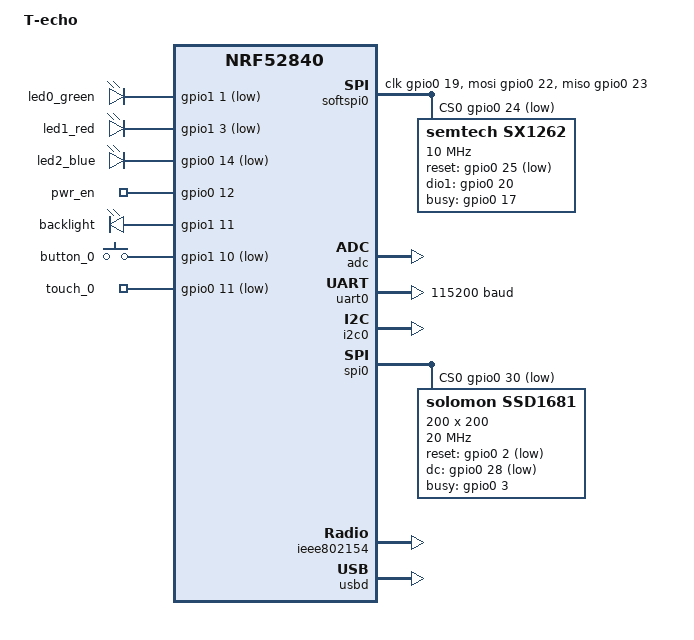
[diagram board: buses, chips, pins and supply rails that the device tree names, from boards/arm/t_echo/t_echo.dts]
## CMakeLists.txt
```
cmake_minimum_required(VERSION 3.20.0)

set(BOARD_ROOT ${CMAKE_CURRENT_LIST_DIR})
set(OPENOCD_NRF5_SUBFAMILY "nrf52")

find_package(Zephyr REQUIRED HINTS $ENV{ZEPHYR_BASE})
include(${ZEPHYR_BASE}/cmake/cfb.cmake NO_POLICY_SCOPE)

project(tracker)
target_sources(app PRIVATE
    src/main.c
    src/display.c
    src/communication.c
    src/sensors.c
)

add_subdirectory(../common ../build/common)
target_link_libraries(app PRIVATE protocol)
target_link_libraries(app PRIVATE minmea)

set(gen_dir ${ZEPHYR_BINARY_DIR}/include/generated/)
# generate_cfb_font_for_target(app "fonts/Big Apple 3PM.ttf" "${gen_dir}/cfb_custom_font.h" 28 32)
# generate_cfb_font_for_target(app "fonts/m12.TTF" "${gen_dir}/cfb_custom_font.h" 34 32 -s 32)
# generate_cfb_font_for_target(app "fonts/Daydream.ttf" "${gen_dir}/cfb_custom_font.h" 23 24 -s 16)
# generate_cfb_font_for_target(app "fonts/Daydream.ttf" "${gen_dir}/cfb_custom_font.h" 28 32 -s 20)

generate_cfb_font_for_target(app "fonts/DotGothic16-Regular.ttf" "${gen_dir}/cfb_custom_font.h" 9 24 -s 16)
```

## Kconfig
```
menu "Zephyr"
source "Kconfig.zephyr"
endmenu

rsource "../common/Kconfig"

config APP_MAIN_LOG_LEVEL
    int "app main log level"
    default 2
    depends on LOG

config APP_DISPLAY_LOG_LEVEL
    int "app display log level"
    default 2
    depends on LOG

config APP_COM_LOG_LEVEL
    int "app communication log level"
    default 2
    depends on LOG

config APP_SENSORS_LOG_LEVEL
    int "app sensors log level"
    default 2
    depends on LOG

config DELAYED_START
    bool "delay the start"
    default n
```

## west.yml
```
manifest:
  remotes:
    - name: zephyrproject-rtos
      url-base: https://github.com/zephyrproject-rtos
  projects:
    - name: zephyr
      remote: zephyrproject-rtos
      revision: v3.4.0
      import: true
    - name: lvgl
      remote: zephyrproject-rtos
      revision: 9fe0a7cc0fb94bcbefc036ee27f1842f13e4e624
      path: modules/lib/gui
      import: true
```

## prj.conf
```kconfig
CONFIG_CBPRINTF_FP_SUPPORT=y

CONFIG_PM=y

CONFIG_GPIO=y

CONFIG_DISPLAY=y
CONFIG_CHARACTER_FRAMEBUFFER=y
CONFIG_CHARACTER_FRAMEBUFFER_USE_DEFAULT_FONTS=n

# CONFIG_LVGL=y
# CONFIG_LV_USE_THEME_DEFAULT=y
# CONFIG_LV_FONT_MONTSERRAT_20=y
# CONFIG_LV_FONT_DEFAULT_MONTSERRAT_20=y
# CONFIG_LV_Z_VDB_SIZE=64
# CONFIG_LV_COLOR_DEPTH_1=y

CONFIG_LOG=y


CONFIG_APP_MAIN_LOG_LEVEL=4
CONFIG_PROTOCOL_LOG_LEVEL=2
CONFIG_APP_SENSORS_LOG_LEVEL=4
CONFIG_APP_DISPLAY_LOG_LEVEL=2
CONFIG_APP_COM_LOG_LEVEL=2

CONFIG_HEAP_MEM_POOL_SIZE=16384

CONFIG_SERIAL=y
CONFIG_CONSOLE=y
CONFIG_UART_CONSOLE=y

CONFIG_USB_DEVICE_STACK=y
CONFIG_USB_DEVICE_PRODUCT="Fjalar Tracker"
CONFIG_USB_DEVICE_PID=0x0004
CONFIG_USB_DEVICE_INITIALIZE_AT_BOOT=y

CONFIG_FPU=y
CONFIG_FPU_SHARING=y

CONFIG_NEWLIB_LIBC=y

CONFIG_USB_CDC_ACM_LOG_LEVEL_WRN=y
# CONFIG_DELAYED_START=y
```

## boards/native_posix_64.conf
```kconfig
CONFIG_SERIAL=y
CONFIG_UART_NATIVE_POSIX=y
CONFIG_UART_NATIVE_POSIX_PORT_1_ENABLE=y
# CONFIG_NATIVE_UART_1_ON_OWN_PTY=y

# CONFIG_NATIVE_UART_0_ON_OWN_PTY=y
CONFIG_NATIVE_UART_0_ON_STDINOUT=y
CONFIG_SYS_CLOCK_TICKS_PER_SEC=1000

CONFIG_DEBUG=y
CONFIG_DEBUG_OPTIMIZATIONS=y
```

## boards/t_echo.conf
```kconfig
CONFIG_SPI=y
CONFIG_SSD16XX=y

CONFIG_BUILD_OUTPUT_UF2=y
CONFIG_ROM_START_OFFSET=0x1000

CONFIG_LORA=y
CONFIG_LORA_SX126X=y
```

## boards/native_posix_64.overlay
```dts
/ {
    aliases {
        led0 = &led_0;
        led1 = &led_1;
        led2 = &led_2;
        sw0 = &sw_0;
        sw1 = &sw_1;
        led-back = &led_0;
        commands-usb = &cdc_acm_uart0;
        telemetry-uart = &uart1;
    };

    leds {
        compatible = "gpio-leds";
        led_0: led_0 {
            gpios = <&gpio0 31 GPIO_ACTIVE_HIGH>;
        };
        led_1: led_1 {
            gpios = <&gpio0 32 GPIO_ACTIVE_HIGH>;
        };
        led_2: led_2 {
            gpios = <&gpio0 33 GPIO_ACTIVE_HIGH>;
        };
    };

    buttons {
        compatible = "gpio-keys";
        sw_0: sw_0 {
            gpios = <&gpio0 0 GPIO_ACTIVE_HIGH>;
        };
        sw_1: sw_1 {
            gpios = <&gpio0 1 GPIO_ACTIVE_HIGH>;
        };
        debounce-interval-ms = < 50 >;
    };

    // uart2: uart2 {
    //     status = "okay";
    //     compatible = "zephyr,native-tty-uart";
    //     serial-port = "/dev/pts/12";
    //     current-speed = <115200>;
    // };

};

&zephyr_udc0 {
    cdc_acm_uart0: cdc_acm_uart0 {
        compatible = "zephyr,cdc-acm-uart";
    };
};


&sdl_dc {
    height = <200>;
    width = <200>;
};

&gpio0 {
    ngpios = <16>;

    sdl_gpio {
      compatible = "zephyr,gpio-emul-sdl";
      scancodes = <54 55>;
    };
};
```

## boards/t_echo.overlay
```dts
/ {
	chosen {
		zephyr,console = &cdc_acm_uart0;
		zephyr,shell-uart = &cdc_acm_uart0;
    };

    aliases {
        commands-usb = &cdc_acm_uart1;
    };
};

&zephyr_udc0 {
    cdc_acm_uart0: cdc_acm_uart0 {
        compatible = "zephyr,cdc-acm-uart";
    };
    cdc_acm_uart1: cdc_acm_uart1 {
        compatible = "zephyr,cdc-acm-uart";
    };
};
```

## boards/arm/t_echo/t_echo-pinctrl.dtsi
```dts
/*
 * Copyright (c) 2022 Nordic Semiconductor
 * SPDX-License-Identifier: Apache-2.0
 */

&pinctrl {
	uart0_default: uart0_default {
		group1 {
			psels = <NRF_PSEL(UART_TX, 1, 8)>,
				<NRF_PSEL(UART_RX, 1, 9)>;
		};
	};

	uart0_sleep: uart0_sleep {
		group1 {
			psels = <NRF_PSEL(UART_TX, 1, 8)>,
				<NRF_PSEL(UART_RX, 1, 9)>;
			low-power-enable;
		};
	};

	i2c0_default: i2c0_default {
		group1 {
			psels = <NRF_PSEL(TWIM_SDA, 0, 26)>,
				<NRF_PSEL(TWIM_SCL, 0, 27)>;
		};
	};

	i2c0_sleep: i2c0_sleep {
		group1 {
			psels = <NRF_PSEL(TWIM_SDA, 0, 26)>,
				<NRF_PSEL(TWIM_SCL, 0, 27)>;
			low-power-enable;
		};
	};

	spi0_default: spi0_default {
		group1 {
			psels = <NRF_PSEL(SPIM_MISO, 1, 06)>,
				<NRF_PSEL(SPIM_MOSI, 0, 29)>,
				<NRF_PSEL(SPIM_SCK, 0, 31)>;
		};
	};

	spi0_sleep: spi0_sleep {
		group1 {
			psels = <NRF_PSEL(SPIM_MISO, 1, 06)>,
				<NRF_PSEL(SPIM_MOSI, 0, 29)>,
				<NRF_PSEL(SPIM_SCK, 0, 31)>;
			low-power-enable;
		};
	};
};
```

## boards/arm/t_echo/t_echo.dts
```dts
/*
 * Copyright (c) 2017 Linaro Limited
 *
 * SPDX-License-Identifier: Apache-2.0
 */

/dts-v1/;
#include <nordic/nrf52840_qiaa.dtsi>
#include "t_echo-pinctrl.dtsi"

/ {
	model = "T-echo";
	compatible = "nordic,pca10056-dk";

	chosen {
		zephyr,sram = &sram0;
		zephyr,flash = &flash0;
		zephyr,code-partition = &slot0_partition;
		zephyr,ieee802154 = &ieee802154;
		zephyr,display = &ssd1681;
	};

	leds {
		compatible = "gpio-leds";
		led0_green: led_0 {
			gpios = <&gpio1 1 GPIO_ACTIVE_LOW>;
		};
		led1_red: led_1 {
			gpios = <&gpio1 3 GPIO_ACTIVE_LOW>;
		};
		led2_blue: led_2 {
			gpios = <&gpio0 14 GPIO_ACTIVE_LOW>;
		};
		pwr_en: pwr_en {
			gpios = <&gpio0 12 GPIO_ACTIVE_HIGH>;
		};
		backlight: backlight {
			gpios = <&gpio1 11 GPIO_ACTIVE_HIGH>;
		};
	};



	buttons {
		compatible = "gpio-keys";
		button_0: button_0 {
			gpios = <&gpio1 10 (GPIO_ACTIVE_LOW)>;
		};

		touch_0: touch_0 {
			gpios = <&gpio0 11 (GPIO_ACTIVE_LOW)>;
		};

        debounce-interval-ms = < 30 >;
	};

	/* These aliases are provided for compatibility with samples */
	aliases {
		sw0 = &button_0;
		sw1 = &touch_0;
		led0 = &led0_green;
		led1 = &led1_red;
		led2 = &led2_blue;
		led0-green = &led0_green;
		led1-red   = &led1_red;
		led1-blue  = &led2_blue;
		led-back = &backlight;
		pwr-en = &pwr_en;
		watchdog0 = &wdt0;
		telemetry-lora = &sx1262;
		gps-uart = &uart0;
	};

	softspi0: softspi0 {
		compatible = "zephyr,spi-bitbang";
		status="okay";
		#address-cells = <1>;
		#size-cells = <0>;
		clk-gpios = <&gpio0 19 GPIO_ACTIVE_HIGH>;
		mosi-gpios = <&gpio0 22 GPIO_ACTIVE_HIGH>;
		miso-gpios = <&gpio0 23 GPIO_ACTIVE_HIGH>;
		cs-gpios = <&gpio0 24 GPIO_ACTIVE_LOW>;

		sx1262: sx1262@0 {
			compatible ="semtech,sx1262";
			reg = <0>;
			spi-max-frequency = <10000000>;
			status = "okay";
			reset-gpios = <&gpio0 25 (GPIO_ACTIVE_LOW)>; //maybe open drain idk
			dio1-gpios = <&gpio0 20 GPIO_ACTIVE_HIGH>;
			dio3-tcxo-voltage = <0x07>; //3v3
			tcxo-power-startup-delay-ms = <1000>; // pulled this from my ass
			busy-gpios = <&gpio0 17 GPIO_ACTIVE_HIGH>;
		};
	};
};

&adc {
	status = "okay";
};

&gpiote {
	status = "okay";
};

&gpio0 {
	status = "okay";
};

&gpio1 {
	status = "okay";
};

&uart0 {
	compatible = "nordic,nrf-uart";
	current-speed = <115200>;
	status = "okay";
	pinctrl-0 = <&uart0_default>;
	pinctrl-1 = <&uart0_sleep>;
	pinctrl-names = "default", "sleep";
};

&i2c0 {
	compatible = "nordic,nrf-twi";
	status = "okay";
	pinctrl-0 = <&i2c0_default>;
	pinctrl-1 = <&i2c0_sleep>;
	pinctrl-names = "default", "sleep";
};

&spi0 {
	status = "okay";
	pinctrl-0 = <&spi0_default>;
	pinctrl-1 = <&spi0_sleep>;
	cs-gpios = <&gpio0 30 GPIO_ACTIVE_LOW>;
	pinctrl-names = "default", "sleep";

	ssd1681: ssd1681@0 {
		reg = <0>;
		compatible = "solomon,ssd1681";
		reset-gpios = <&gpio0 2 GPIO_ACTIVE_LOW>;
		dc-gpios = <&gpio0 28 GPIO_ACTIVE_LOW>;
		busy-gpios = <&gpio0 3 GPIO_ACTIVE_HIGH>;
		spi-max-frequency = <20000000>;
		height = <200>;
		width = <200>;
		orientation-flipped;
	};
};

&ieee802154 {
	status = "okay";
};

&flash0 {
	partitions {
		compatible = "fixed-partitions";
		#address-cells = <1>;
		#size-cells = <1>;

		boot_partition: partition@0 {
			label = "mcuboot";
			reg = <0x00000000 0x0000C000>;
		};
		slot0_partition: partition@c000 {
			label = "image-0";
			reg = <0x0000C000 0x00067000>;
		};
		slot1_partition: partition@73000 {
			label = "image-1";
			reg = <0x00073000 0x00067000>;
		};
		scratch_partition: partition@da000 {
			label = "image-scratch";
			reg = <0x000da000 0x0001e000>;
		};

		/*
		 * The flash starting at 0x000f8000 and ending at
		 * 0x000fffff is reserved for use by the application.
		 */

		/*
		 * Storage partition will be used by FCB/LittleFS/NVS
		 * if enabled.
		 */
		storage_partition: partition@f8000 {
			label = "storage";
			reg = <0x000f8000 0x00008000>;
		};
	};
};

zephyr_udc0: &usbd {
	compatible = "nordic,nrf-usbd";
	status = "okay";
};
```

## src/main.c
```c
#include <zephyr/kernel.h>
#include <zephyr/drivers/gpio.h>
#include <zephyr/drivers/display.h>
#include <zephyr/pm/pm.h>
#include <zephyr/init.h>
#include <zephyr/logging/log.h>
#include <zephyr/display/cfb.h>

#include <cfb_custom_font.h>

#include "tracker.h"
#include "display.h"
#include "sensors.h"
#include "communication.h"

LOG_MODULE_REGISTER(main, CONFIG_APP_MAIN_LOG_LEVEL);

tracker_t tracker_god = {0};

struct gpio_callback button_callback_data;

void button_callback(const struct device *dev, struct gpio_callback *cb, uint32_t pins) {
    const struct gpio_dt_spec button_sw = GPIO_DT_SPEC_GET(DT_ALIAS(sw0), gpios);
    static uint32_t pressed_at = 0;

    bool state = gpio_pin_get_dt(&button_sw);
    // LOG_DBG("button pressed at %d %d", k_uptime_get_32(), state);

    // driver doesn't debounce
    if (k_uptime_get_32() - pressed_at < 50) {
        return;
    }

    if (state == true) {
        pressed_at = k_uptime_get_32();
    }

    if (state == false) {
        uint32_t delta = k_uptime_get_32() - pressed_at;
        if (delta > 1000) {
            send_screen_command(&tracker_god);
        } else  {
            next_frame(&tracker_god);
        }
    }
}

int main(void)
{
    #ifdef CONFIG_DELAYED_START
	const int delay = 10;
	for (int i = 0; i < delay; i++) {
		printk("%d\n", delay - i);
		k_msleep(1000);
	}
	#endif
    init_display(&tracker_god);
    init_communication(&tracker_god);
    init_sensors(&tracker_god);

    int ret;
    const struct gpio_dt_spec gpio_led = GPIO_DT_SPEC_GET(DT_ALIAS(led0), gpios);
    const struct gpio_dt_spec back_led = GPIO_DT_SPEC_GET(DT_ALIAS(led_back), gpios);
    const struct gpio_dt_spec button_sw = GPIO_DT_SPEC_GET(DT_ALIAS(sw0), gpios);

    ret = gpio_pin_configure_dt(&gpio_led, GPIO_OUTPUT_ACTIVE);

    ret = gpio_pin_configure_dt(&back_led, GPIO_OUTPUT_ACTIVE);
    ret = gpio_pin_set_dt(&back_led, 1);

    ret = gpio_pin_configure_dt(&button_sw, GPIO_INPUT);
    ret = gpio_pin_interrupt_configure_dt(&button_sw, GPIO_INT_EDGE_BOTH);
    gpio_init_callback(&button_callback_data, button_callback, BIT(button_sw.pin));
    ret = gpio_add_callback_dt(&button_sw, &button_callback_data);

    while (1) {
        ret = gpio_pin_toggle_dt(&gpio_led);
        if (ret < 0) {
            return 0;
        }

        k_msleep(100);
    }
    return 0;
}

#ifdef CONFIG_BOARD_T_ECHO
#include <hal/nrf_gpio.h>

void power_thread(void *p1, void *p2, void *p3);

K_THREAD_DEFINE(power_thread_id, 512, power_thread, NULL, NULL, NULL, 10, 0, 0);

void power_off(const struct gpio_dt_spec *gpio_pwr_en) {
    gpio_pin_set_dt(gpio_pwr_en, 0);
    pm_state_force(0u, &(struct pm_state_info){PM_STATE_SOFT_OFF, 0, 0});
    k_msleep(1000);
    // the line above kind of powers off the board.
    // If it somehow doesn't then enable external power again to notify the user
    gpio_pin_set_dt(gpio_pwr_en, 1);
}

void power_thread(void *p1, void *p2, void *p3) {
    const struct gpio_dt_spec gpio_button = GPIO_DT_SPEC_GET(DT_ALIAS(sw0), gpios);
    const struct gpio_dt_spec gpio_pwr_en = GPIO_DT_SPEC_GET(DT_ALIAS(pwr_en), gpios);
    const struct gpio_dt_spec gpio_led = GPIO_DT_SPEC_GET(DT_ALIAS(led2), gpios);

    gpio_pin_configure_dt(&gpio_button, GPIO_INPUT);
    gpio_pin_configure_dt(&gpio_pwr_en, GPIO_OUTPUT);
    gpio_pin_configure_dt(&gpio_led, GPIO_OUTPUT);

    int pressed_for = 0;
    while (true) {
        if (gpio_pin_get_dt(&gpio_button)) {
            pressed_for++;
            if (pressed_for > 100) {
                power_off(&gpio_pwr_en);
            }
        } else {
            pressed_for = 0;
        }
        k_msleep(100);
    }
}

int early_power_on() {
    uint32_t psel = NRF_DT_GPIOS_TO_PSEL(DT_ALIAS(pwr_en), gpios);
    gpio_dt_flags_t flags = DT_GPIO_FLAGS(DT_ALIAS(pwr_en), gpios);

    if (flags & GPIO_ACTIVE_LOW) {
        nrf_gpio_pin_clear(psel);
    } else {
        nrf_gpio_pin_set(psel);
    }
    nrf_gpio_cfg_output(psel);

    psel = NRF_DT_GPIOS_TO_PSEL(DT_ALIAS(led2), gpios);
    flags = DT_GPIO_FLAGS(DT_ALIAS(led2), gpios);

    if (flags & GPIO_ACTIVE_LOW) {
        nrf_gpio_pin_clear(psel);
    } else {
        nrf_gpio_pin_set(psel);
    }
    nrf_gpio_cfg_output(psel);

    return 0;
}
SYS_INIT(early_power_on, PRE_KERNEL_1, 0);
#endif
```

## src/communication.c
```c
#include <zephyr/kernel.h>
#include <zephyr/drivers/lora.h>
#include <zephyr/drivers/uart.h>
#include <zephyr/logging/log.h>
#include <protocol.h>

#include "communication.h"
#include "tracker.h"

LOG_MODULE_REGISTER(com, CONFIG_APP_COM_LOG_LEVEL);

#define LORA_TRANSMIT 1
#define LORA_RECEIVE 0

#define LORA_THREAD_PRIORITY 5 //bit banging causes button to lock...
#define LORA_THREAD_STACK_SIZE 4096

#define USB_THREAD_PRIORITY 7
#define USB_THREAD_STACK_SIZE 4096

#define UART_THREAD_PRIORITY 7
#define UART_THREAD_STACK_SIZE 4096

#if DT_ALIAS_EXISTS(telemetry_lora)
K_THREAD_STACK_DEFINE(lora_thread_stack, LORA_THREAD_STACK_SIZE);
struct k_thread lora_thread_data;
k_tid_t lora_thread_id;
void lora_thread(tracker_t *tracker, void *p2, void *p3);
#endif

#if DT_ALIAS_EXISTS(telemetry_uart)
K_THREAD_STACK_DEFINE(uart_thread_stack, UART_THREAD_STACK_SIZE);
struct k_thread uart_thread_data;
k_tid_t uart_thread_id;
void uart_thread(tracker_t *tracker, void *p2, void *p3);
#endif

#if DT_ALIAS_EXISTS(commands_usb)
K_THREAD_STACK_DEFINE(usb_thread_stack, USB_THREAD_STACK_SIZE);
struct k_thread usb_thread_data;
k_tid_t usb_thread_id;
void usb_thread(tracker_t *tracker, void *p2, void *p3);
#endif

K_MSGQ_DEFINE(lora_msgq, sizeof(struct padded_buf), 10, 4);
K_MSGQ_DEFINE(usb_msgq, sizeof(struct padded_buf), 10, 4);
K_MSGQ_DEFINE(uart_msgq, sizeof(struct padded_buf), 10, 4);

void init_communication(tracker_t *tracker) {
    #if DT_ALIAS_EXISTS(telemetry_lora)
	lora_thread_id = k_thread_create(
		&lora_thread_data,
		lora_thread_stack,
		K_THREAD_STACK_SIZEOF(lora_thread_stack),
		(k_thread_entry_t) lora_thread,
		tracker, NULL, NULL,
		LORA_THREAD_PRIORITY, 0, K_NO_WAIT
	);
	k_thread_name_set(lora_thread_id, "lora");
    #endif

    #if DT_ALIAS_EXISTS(telemetry_uart)
	uart_thread_id = k_thread_create(
		&uart_thread_data,
		uart_thread_stack,
		K_THREAD_STACK_SIZEOF(uart_thread_stack),
		(k_thread_entry_t) uart_thread,
		tracker, NULL, NULL,
		UART_THREAD_PRIORITY, 0, K_NO_WAIT
	);
	k_thread_name_set(uart_thread_id, "uart");
    #endif

	#if DT_ALIAS_EXISTS(commands_usb)
	usb_thread_id = k_thread_create(
		&usb_thread_data,
		usb_thread_stack,
		K_THREAD_STACK_SIZEOF(usb_thread_stack),
		(k_thread_entry_t) usb_thread,
		tracker, NULL, NULL,
		USB_THREAD_PRIORITY, 0, K_NO_WAIT
	);
	k_thread_name_set(usb_thread_id, "uart");
    #endif
}

void send_screen_command(tracker_t *tracker) {
	struct fjalar_message msg;
	switch (tracker->current_frame) {
		case FRAME_INFO:
			break;
        case FRAME_TRACKING:
            break;
        case FRAME_TELEMETRY:
            break;

		case FRAME_PYRO1:
			msg.has_data = true;
			msg.data.which_data = FJALAR_DATA_TRIGGER_PYRO_TAG;
			msg.data.data.trigger_pyro.pyro = 1;
			send_message(tracker, &msg);
            break;

		case FRAME_PYRO2:
			msg.has_data = true;
			msg.data.which_data = FJALAR_DATA_TRIGGER_PYRO_TAG;
			msg.data.data.trigger_pyro.pyro = 2;
			send_message(tracker, &msg);
            break;

        case FRAME_PYRO3:
			msg.has_data = true;
			msg.data.which_data = FJALAR_DATA_TRIGGER_PYRO_TAG;
			msg.data.data.trigger_pyro.pyro = 3;
			send_message(tracker, &msg);
			break;

        case FRAME_GET_READY:
			msg.has_data = true;
			msg.data.which_data = FJALAR_DATA_READY_UP_TAG;
			send_message(tracker, &msg);
            break;

        case FRAME_ENTER_IDLE:
			msg.has_data = true;
			msg.data.which_data = FJALAR_DATA_ENTER_IDLE_TAG;
			send_message(tracker, &msg);
            break;

        case FRAME_ENTER_SUDO:
			msg.has_data = true;
			msg.data.which_data = FJALAR_DATA_SET_SUDO_TAG;
			msg.data.data.set_sudo.enabled = !tracker->telemetry.sudo;
			send_message(tracker, &msg);
            break;

		case FRAME_CLEAR_FLASH:
			msg.has_data = true;
			msg.data.which_data = FJALAR_DATA_CLEAR_FLASH_TAG;
			send_message(tracker, &msg);
			break;

        case FRAME_MAX:
            break;
	}
}

void send_message(tracker_t *tracker, fjalar_message_t *msg) {
	struct padded_buf pbuf;
	int size = encode_fjalar_message(msg, pbuf.buf);
	if (size < 0) {
		LOG_ERR("encode_fjalar_message failed");
		return;
	}
	LOG_DBG("sending message w/ size %d", size);
	write_to_fc(tracker, pbuf.buf, size);
}

void handle_fjalar_message(tracker_t *tracker, struct fjalar_message *msg) {
	LOG_DBG("handling message with ID %d", msg->data.which_data);
    switch (msg->data.which_data) {
        case FJALAR_DATA_TELEMETRY_PACKET_TAG:
            tracker->telemetry = msg->data.data.telemetry_packet;
            break;
        default:
			LOG_DBG("Could not handle message with ID %d", msg->data.which_data);
    }
}



void write_to_gs(tracker_t *tracker, uint8_t *buf, int len) {
	struct padded_buf pbuf;
	int ret;
	memcpy(pbuf.buf, buf, len);
	ret = k_msgq_put(&usb_msgq, &pbuf, K_NO_WAIT);
	if (ret != 0) {
		LOG_ERR("Could not write to usb_msgq (%d)", ret);
	}
}

void write_to_fc(tracker_t *tracker, uint8_t *buf, int len) {
	struct padded_buf pbuf;
	int ret;
	memcpy(pbuf.buf, buf, len);

	#if DT_ALIAS_EXISTS(telemetry_uart)
	ret = k_msgq_put(&uart_msgq, &pbuf, K_NO_WAIT);
	if (ret != 0) {
		LOG_ERR("Could not write to uart_msgq (%d)", ret);
	}
	#endif

	#if DT_ALIAS_EXISTS(telemetry_lora)
	ret = k_msgq_put(&lora_msgq, &pbuf, K_NO_WAIT);
	if (ret != 0) {
		LOG_ERR("Could not write to lora_msgq (%d)", ret);
	}
	#endif
}

#if DT_ALIAS_EXISTS(telemetry_lora)
int lora_configure(const struct device *dev, uint8_t transmit) {
    // struct lora_modem_config config;
	static uint8_t current_mode = -1;
	if (current_mode == transmit) {
		LOG_DBG("Mode already configured");
		return 0;
	}
    struct lora_modem_config config = PROTOCOL_ZEPHYR_LORA_CONFIG;
    config.tx = transmit;
	config.tx_power = 10;
    int ret = lora_config(dev, &config);
	if (ret < 0) {
		LOG_ERR("Could not configure lora %d", ret);
		return ret;
	}
	if (transmit) {
		LOG_DBG("LoRa configured to tx");
	} else {
		LOG_DBG("LoRa configured to rx");
	}
	current_mode = transmit ? 1 : 0;
	return ret;
}

struct lora_rx {
	uint8_t buf[PROTOCOL_BUFFER_LENGTH];
	uint16_t size;
	int16_t rssi;
	int8_t snr;
} __attribute__((aligned(4)));

K_MSGQ_DEFINE(lora_rx_msgq, sizeof(struct lora_rx), 5, 4);

void lora_cb(const struct device *dev, uint8_t *buf, uint16_t size, int16_t rssi, int8_t snr) {
    struct lora_rx rx;
	rx.size = MIN(size, PROTOCOL_BUFFER_LENGTH);
	memcpy(rx.buf, buf, rx.size);
	rx.rssi = rssi;
	rx.snr = snr;
	k_msgq_put(&lora_rx_msgq, &rx, K_NO_WAIT);
}

void lora_thread(tracker_t *tracker, void* p2, void* p3) {
    const struct device *lora_dev = DEVICE_DT_GET(DT_ALIAS(telemetry_lora));
    if (!device_is_ready(lora_dev)) {
        LOG_ERR("LoRa is not ready");
        return;
    }
    struct lora_rx rx;
    int ret;
    struct padded_buf pbuf;
    fjalar_message_t msg;
    while (true) {
		struct k_poll_event events[2] = {
			K_POLL_EVENT_INITIALIZER(K_POLL_TYPE_MSGQ_DATA_AVAILABLE,
											K_POLL_MODE_NOTIFY_ONLY,
											&lora_msgq),
			K_POLL_EVENT_INITIALIZER(K_POLL_TYPE_MSGQ_DATA_AVAILABLE,
											K_POLL_MODE_NOTIFY_ONLY,
											&lora_rx_msgq),
		};

        ret = lora_configure(lora_dev, LORA_RECEIVE);
		if (ret) {
			LOG_ERR("LoRa rx configure failed");
		} else {
			LOG_DBG("LoRa rxing");
		}

		lora_recv_async(lora_dev, lora_cb);
		// k_poll(&events[1], 1, K_MSEC(10000)); //poll only rx first to not interrupt messages
		k_poll(events, 2, K_FOREVER);

		ret = k_msgq_get(&lora_rx_msgq, &rx, K_NO_WAIT);
        if (ret == 0) {
			events[1].state = K_POLL_STATE_NOT_READY;
			LOG_INF("received LoRa packet. Size: %d rssi: %d snr: %d", rx.size, rx.rssi, rx.snr);
			tracker->local_rssi = rx.rssi;
			struct protocol_state ps;
			reset_protocol_state(&ps);
            for (int i = 0; i < rx.size; i++) {
                int got_msg = parse_fjalar_message(&ps, rx.buf[i], &msg);
                if (got_msg == 1) {
                    LOG_INF("parsed message from lora");
                    handle_fjalar_message(tracker, &msg);
                    write_to_gs(tracker, rx.buf, rx.size);
                } else
                if (got_msg == -1) {
                    LOG_ERR("Invalid message from lora");
                }
            }
        }

        ret = k_msgq_get(&lora_msgq, &pbuf, K_NO_WAIT);
        if (ret == 0) {
			events[0].state = K_POLL_STATE_NOT_READY;
			lora_recv_async(lora_dev, NULL); // cancel reception
            ret = lora_configure(lora_dev, LORA_TRANSMIT);
			if (ret) {
				LOG_ERR("LORA tx configure failed");
			}else {
				LOG_DBG("LoRa txing");
			}
            int size = get_encoded_message_length(pbuf.buf);
            ret = lora_send(lora_dev, pbuf.buf, size);
			if (ret) {
				LOG_ERR("Could not send LoRa message");
			}
        }
    }
}
#endif

#if DT_ALIAS_EXISTS(telemetry_uart)
void uart_thread(tracker_t *tracker, void* p2, void* p3) {
	const struct device *uart_dev = DEVICE_DT_GET(DT_ALIAS(telemetry_uart));
    if (!device_is_ready(uart_dev)) {
		LOG_ERR("telemetry uart not ready");
		return;
	}
	struct protocol_state ps;
	reset_protocol_state(&ps);
    uint8_t rx_buf[PROTOCOL_BUFFER_LENGTH]; //TODO: please mangage lengths properly
    uint8_t rx_index = 0;
	while(1) {
		// rx
		int ret;
		uint8_t byte;
		ret = uart_poll_in(uart_dev, &byte);
		if (ret == 0) {
            // LOG_DBG("received byte on telemetry_uart");
            if (rx_index < sizeof(rx_buf)) {
                rx_buf[rx_index] = byte;
                rx_index++;
            }
            fjalar_message_t msg;
            int got_msg = parse_fjalar_message(&ps, byte, &msg);
            if (got_msg == 1) {
                LOG_INF("received message from telemetry_uart");
                handle_fjalar_message(tracker, &msg);
                write_to_gs(tracker, rx_buf, rx_index);
                rx_index = 0;
            } else
            if (got_msg == -1) {
                rx_index = 0;
            }
			continue;
		} else
		if (ret != -1) {
			LOG_ERR("UART read error");
		}

		// tx
		struct padded_buf pbuf;
		ret = k_msgq_get(&uart_msgq, &pbuf, K_NO_WAIT);
		if (ret == 0) {
			int size = get_encoded_message_length(pbuf.buf);
			for (int i = 0; i < size; i++) {
				uart_poll_out(uart_dev, pbuf.buf[i]);
			}
		}
		k_msleep(1);
	}
}
#endif

#if DT_ALIAS_EXISTS(commands_usb)
void usb_thread(tracker_t *tracker, void* p2, void* p3) {
	const struct device *usb_dev = DEVICE_DT_GET(DT_ALIAS(commands_usb));
    if (!device_is_ready(usb_dev)) {
		LOG_ERR("telemetry uart not ready");
		return;
	}
	struct protocol_state ps;
	reset_protocol_state(&ps);
    uint8_t rx_buf[PROTOCOL_BUFFER_LENGTH]; //TODO: please mangage lengths properly
    uint8_t rx_index = 0;
	while(1) {
		// rx
		int ret;
		uint8_t byte;
		ret = uart_poll_in(usb_dev, &byte);
		if (ret == 0) {
            // LOG_DBG("received byte on telemetry_uart");
            if (rx_index < sizeof(rx_buf)) {
                rx_buf[rx_index] = byte;
                rx_index++;
            }
            fjalar_message_t msg;
            int got_msg = parse_fjalar_message(&ps, byte, &msg);
            if (got_msg == 1) {
                LOG_INF("received message from commands_usb");
                // handle_fjalar_message(tracker, &msg);
                write_to_fc(tracker, rx_buf, rx_index);
                rx_index = 0;
            } else
            if (got_msg == -1) {
                rx_index = 0;
            }
			continue;
		} else
		if (ret != -1) {
			LOG_ERR("USB read error");
		}

		// tx
		struct padded_buf pbuf;
		ret = k_msgq_get(&usb_msgq, &pbuf, K_NO_WAIT);
		if (ret == 0) {
			int size = get_encoded_message_length(pbuf.buf);
			for (int i = 0; i < size; i++) {
				uart_poll_out(usb_dev, pbuf.buf[i]);
			}
		}
		k_msleep(1);
	}
}
#endif
```

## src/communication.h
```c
#include <protocol.h>

#include "tracker.h"

struct padded_buf {
	uint8_t buf[PROTOCOL_BUFFER_LENGTH];
} __attribute__((aligned(4)));



void send_message(tracker_t *tracker, fjalar_message_t *msg);
void write_to_gs(tracker_t *tracker, uint8_t *buf, int len);
void write_to_fc(tracker_t *tracker, uint8_t *buf, int len);
void send_screen_command(tracker_t *tracker);

void init_communication(tracker_t *tracker);
```

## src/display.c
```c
#include <zephyr/kernel.h>
#include <zephyr/drivers/display.h>
#include <zephyr/display/cfb.h>
#include <zephyr/logging/log.h>
#include <zephyr/drivers/gpio.h>

#include "tracker.h"
#include "display.h"
#include "sensors.h"

LOG_MODULE_REGISTER(app_display, CONFIG_APP_DISPLAY_LOG_LEVEL);

#define DRAWING_THREAD_PRIORITY 6
#define DRAWING_THREAD_STACK_SIZE 1024

K_THREAD_STACK_DEFINE(drawing_thread_stack, DRAWING_THREAD_STACK_SIZE);
struct k_thread drawing_thread_data;
k_tid_t drawing_thread_id;
void drawing_thread(tracker_t *tracker, void *p2, void *p3);

uint8_t font_width;
uint8_t font_height;

const struct device *display_dev = DEVICE_DT_GET(DT_CHOSEN(zephyr_display));

void init_display(tracker_t *tracker) {
    drawing_thread_id = k_thread_create(
		&drawing_thread_data,
		drawing_thread_stack,
		K_THREAD_STACK_SIZEOF(drawing_thread_stack),
		(k_thread_entry_t) drawing_thread,
		tracker, NULL, NULL,
		DRAWING_THREAD_PRIORITY, 0, K_NO_WAIT
	);
}

void next_frame(tracker_t *tracker) {
    tracker->current_frame = (tracker->current_frame + 1) % FRAME_MAX;
}

void drawing_thread(tracker_t *tracker, void *p2, void *p3) {

    // init screen
    if (!device_is_ready(display_dev)) {
        LOG_ERR("Display not ready");
    }
    if (display_set_pixel_format(display_dev, PIXEL_FORMAT_MONO10) != 0) {
        LOG_ERR("Failed to set required pixel format\n");
    }
    if (cfb_framebuffer_init(display_dev)) {
        LOG_ERR("Framebuffer initialization failed!\n");
    }
    cfb_framebuffer_clear(display_dev, true);
    display_blanking_off(display_dev);
    for (int idx = 0; idx < 42; idx++) {
        if (cfb_get_font_size(display_dev, idx, &font_width, &font_height)) {
			break;
		}
		cfb_framebuffer_set_font(display_dev, idx);
	}

    //init gpio
    const struct gpio_dt_spec touch_sw = GPIO_DT_SPEC_GET(DT_ALIAS(sw1), gpios);
    gpio_pin_configure_dt(&touch_sw, GPIO_INPUT);

    enum screen_frames last_frame = tracker->current_frame;
    draw_frame(tracker, last_frame);
    int ret;
    while (true) {
        ret = gpio_pin_get_dt(&touch_sw);
        if (last_frame != tracker->current_frame || ret) {
            enum screen_frames frame = tracker->current_frame;
            draw_frame(tracker, frame);
            last_frame = frame;
            tracker->current_frame = last_frame;
        }
        k_msleep(100);
    }
}

const static char* state_to_string(enum flight_state state) {
    switch(state) {
        case FLIGHT_STATE_IDLE:
            return "Idle";
        case FLIGHT_STATE_LAUNCHPAD:
            return "Launchpad";
        case FLIGHT_STATE_BOOST:
            return "Boost";
        case FLIGHT_STATE_COAST:
            return "Coast";
        case FLIGHT_STATE_FREE_FALL:
            return "Free Fall";
        case FLIGHT_STATE_DROGUE_DESCENT:
            return "Drogue";
        case FLIGHT_STATE_MAIN_DESCENT:
            return "Main";
        case FLIGHT_STATE_LANDED:
            return "Landed";
        default:
            return "error";
            LOG_ERR("Invalid flight state");
    }
}

void draw_frame(tracker_t *tracker, enum screen_frames frame) {
    LOG_DBG("Draw frame");
    cfb_framebuffer_clear(display_dev, false);

    uint8_t buf[128];
    int len;
    int i = 0;
    int x_offset = 10;
    switch (frame) {
        case FRAME_INFO:
            i = 3;
            len = snprintk(buf, sizeof(buf), "info");
            cfb_draw_text(display_dev, buf, x_offset, i++ * font_height);
            break;
        case FRAME_TRACKING:
            len = snprintk(buf, sizeof(buf), "tracking");
            cfb_draw_text(display_dev, buf, x_offset, i++ * font_height);
            len = snprintk(buf, sizeof(buf), "rocket");
            cfb_draw_text(display_dev, buf, x_offset, i++ * font_height);
            len = snprintk(buf, sizeof(buf), "lat: %f°", tracker->telemetry.latitude);
            cfb_draw_text(display_dev, buf, x_offset, i++ * font_height);
            len = snprintk(buf, sizeof(buf), "lon: %f°", tracker->telemetry.longitude);
            cfb_draw_text(display_dev, buf, x_offset, i++ * font_height);
            len = snprintk(buf, sizeof(buf), "tracker");
            cfb_draw_text(display_dev, buf, x_offset, i++ * font_height);
            len = snprintk(buf, sizeof(buf), "lat: %f°", tracker->latitude);
            cfb_draw_text(display_dev, buf, x_offset, i++ * font_height);
            len = snprintk(buf, sizeof(buf), "lon: %f°", tracker->longitude);
            cfb_draw_text(display_dev, buf, x_offset, i++ * font_height);

            float distance = haversine_distance(tracker->telemetry.latitude, tracker->telemetry.longitude, tracker->latitude, tracker->longitude);
            len = snprintk(buf, sizeof(buf), "distance: %fm", distance);
            cfb_draw_text(display_dev, buf, x_offset, i++ * font_height);
            break;
        case FRAME_TELEMETRY:
            len = snprintk(buf, sizeof(buf), "alt: %fm", tracker->telemetry.altitude);
            cfb_draw_text(display_dev, buf, x_offset, i++ * font_height);
            len = snprintk(buf, sizeof(buf), "vel: %fm/s", tracker->telemetry.velocity);
            cfb_draw_text(display_dev, buf, x_offset, i++ * font_height);
            len = snprintk(buf, sizeof(buf), "az: %fm/s2", tracker->telemetry.az);
            cfb_draw_text(display_dev, buf, x_offset, i++ * font_height);
            len = snprintk(buf, sizeof(buf), "p1:%d p2:%d p3:%d", tracker->telemetry.pyro1_connected, tracker->telemetry.pyro2_connected, tracker->telemetry.pyro3_connected);
            cfb_draw_text(display_dev, buf, x_offset, i++ * font_height);
            len = snprintk(buf, sizeof(buf), "rssi: %ddBm", tracker->local_rssi);
            cfb_draw_text(display_dev, buf, x_offset, i++ * font_height);
            len = snprintk(buf, sizeof(buf), "state: %s", state_to_string(tracker->telemetry.flight_state));
            cfb_draw_text(display_dev, buf, x_offset, i++ * font_height);
            len = snprintk(buf, sizeof(buf), "flash: %f%%", tracker->telemetry.flash_address / (float) 0x8000000 * 100 * 8);
            cfb_draw_text(display_dev, buf, x_offset, i++ * font_height);
            len = snprintk(buf, sizeof(buf), "volt: %fV", tracker->telemetry.battery);
            cfb_draw_text(display_dev, buf, x_offset, i++ * font_height);
            break;
        case FRAME_PYRO1:
            i = 3;
            len = snprintk(buf, sizeof(buf), "PYRO 1");
            cfb_draw_text(display_dev, buf, x_offset, i++ * font_height);
            len = snprintk(buf, sizeof(buf), "connected: %d", tracker->telemetry.pyro1_connected);
            cfb_draw_text(display_dev, buf, x_offset, i++ * font_height);
            break;
        case FRAME_PYRO2:
            i = 3;
            len = snprintk(buf, sizeof(buf), "PYRO 2");
            cfb_draw_text(display_dev, buf, x_offset, i++ * font_height);
            len = snprintk(buf, sizeof(buf), "connected: %d", tracker->telemetry.pyro2_connected);
            cfb_draw_text(display_dev, buf, x_offset, i++ * font_height);
            break;
        case FRAME_PYRO3:
            i = 3;
            len = snprintk(buf, sizeof(buf), "PYRO 3");
            cfb_draw_text(display_dev, buf, x_offset, i++ * font_height);
            len = snprintk(buf, sizeof(buf), "connected: %d", tracker->telemetry.pyro3_connected);
            cfb_draw_text(display_dev, buf, x_offset, i++ * font_height);
            break;
        case FRAME_GET_READY:
            i = 3;
            len = snprintk(buf, sizeof(buf), "BECOME READY?");
            cfb_draw_text(display_dev, buf, x_offset, i++ * font_height);
            len = snprintk(buf, sizeof(buf), "state: %s", state_to_string(tracker->telemetry.flight_state));
            cfb_draw_text(display_dev, buf, x_offset, i++ * font_height);
            break;
        case FRAME_ENTER_IDLE:
            i = 3;
            len = snprintk(buf, sizeof(buf), "BECOME IDLE?");
            cfb_draw_text(display_dev, buf, x_offset, i++ * font_height);
            len = snprintk(buf, sizeof(buf), "state: %s", state_to_string(tracker->telemetry.flight_state));
            cfb_draw_text(display_dev, buf, x_offset, i++ * font_height);
            break;
        case FRAME_ENTER_SUDO:
            i = 3;
            len = snprintk(buf, sizeof(buf), "SUDO MODE?");
            cfb_draw_text(display_dev, buf, x_offset, i++ * font_height);
            len = snprintk(buf, sizeof(buf), "Sudo: %d", tracker->telemetry.sudo);
            cfb_draw_text(display_dev, buf, x_offset, i++ * font_height);
            break;
        case FRAME_CLEAR_FLASH:
            i = 3;
            len = snprintk(buf, sizeof(buf), "CLEAR FLASH?");
            cfb_draw_text(display_dev, buf, x_offset, i++ * font_height);
            len = snprintk(buf, sizeof(buf), "flash address: %d", tracker->telemetry.flash_address);
            cfb_draw_text(display_dev, buf, x_offset, i++ * font_height);
            break;
        case FRAME_MAX:
            break;
    }
    cfb_framebuffer_finalize(display_dev);
}
```

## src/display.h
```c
#pragma once

#include "tracker.h"

void init_display(tracker_t *tracker);
void draw_frame(tracker_t *tracker, enum screen_frames frame);
void next_frame(tracker_t *tracker);
```

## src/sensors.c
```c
#include <zephyr/kernel.h>
#include <zephyr/drivers/uart.h>
#include <zephyr/logging/log.h>
#include <math.h>

#include <minmea.h>

#include "tracker.h"

LOG_MODULE_REGISTER(gps, CONFIG_APP_SENSORS_LOG_LEVEL);

#define GPS_THREAD_STACK_SIZE 2048

#define GPS_THREAD_PRIORITY 7

#if DT_ALIAS_EXISTS(gps_uart)
K_THREAD_STACK_DEFINE(gps_thread_stack, GPS_THREAD_STACK_SIZE);
struct k_thread gps_thread_data;
k_tid_t gps_thread_id;
#endif

void gps_thread(tracker_t *tracker, void *p2, void *p3);

void init_sensors(tracker_t *tracker) {
	#if DT_ALIAS_EXISTS(gps_uart)
	gps_thread_id = k_thread_create(
		&gps_thread_data,
		gps_thread_stack,
		K_THREAD_STACK_SIZEOF(gps_thread_stack),
		(k_thread_entry_t) gps_thread,
		tracker, NULL, NULL,
		GPS_THREAD_PRIORITY, 0, K_NO_WAIT
	);
	k_thread_name_set(gps_thread_id, "gps");
	#endif
}

#if DT_NODE_EXISTS(DT_ALIAS(gps_uart))
void handle_nmea(tracker_t *tracker, char *buf, int len) {
	LOG_DBG("Handling nmea message");
	switch (minmea_sentence_id(buf, true)) {
		case MINMEA_INVALID:
			LOG_ERR("got invalid nmea message \"%.*s\"", len, buf);
			break;
		case MINMEA_UNKNOWN:
			LOG_DBG("got unknown nmea message (quectel probably) \"%.*s\"", len, buf);
			break;

		case MINMEA_SENTENCE_RMC:
			LOG_DBG("got RMC nmea message");
			struct minmea_sentence_rmc rmc;
			minmea_parse_rmc(&rmc, buf);
			tracker->longitude = minmea_tocoord(&rmc.longitude);
			tracker->latitude = minmea_tocoord(&rmc.latitude);
			break;

		default:
			LOG_DBG("got unhandled nmea message \"%.*s\"", len, buf);
			break;
	}
}

void gps_uart_cb(const struct device *dev, void *user_data) {
	static uint8_t nmea_buf[255];
	static int nmea_index = 0;

	if (!uart_irq_update(dev)) {
		return;
	}

	if (!uart_irq_rx_ready(dev)) {
		return;
	}

	while (true) {
		uint8_t fifo_buf[255];
		int fifo_len = uart_fifo_read(dev, fifo_buf, sizeof(fifo_buf));
		if (fifo_len <= 0) {
			break;
		}

		for (int i = 0; i < fifo_len; i++) {
			char byte = fifo_buf[i];
			if (byte == '$') {
				nmea_index = 0;
			}
			if (byte == '\n' || byte == '\r') {
				if (nmea_index != 0) {
					nmea_buf[nmea_index] = '\0';
					handle_nmea(&tracker_god, nmea_buf, nmea_index); // TODO: don't use tracker god
				}
				nmea_index = 0;
				continue;
			}
			if (nmea_index < sizeof(nmea_buf) - 1) {
				nmea_buf[nmea_index] = byte;
				nmea_index++;
				continue;
			}
			continue;
		}
	}
}

void gps_thread(tracker_t *tracker, void *p2, void *p3) {
    const struct device *const gps_dev = DEVICE_DT_GET(DT_ALIAS(gps_uart));
    if (!device_is_ready(gps_dev)) {
		LOG_ERR("gps is not ready");
		return;
	}
    int ret;
    struct uart_config uart_config = {
		.baudrate = 9600,
		.data_bits = UART_CFG_DATA_BITS_8,
		.flow_ctrl = UART_CFG_FLOW_CTRL_NONE,
		.parity = UART_CFG_PARITY_NONE,
		.stop_bits = UART_CFG_STOP_BITS_1
	};
	ret = uart_configure(gps_dev, &uart_config);
	uart_irq_callback_set(gps_dev, gps_uart_cb);
	uart_irq_rx_enable(gps_dev);

	const char pulse_msg[] = "$PMTK285,2,100*3E\r\n"; // blink
	for (int i = 0; i < strlen(pulse_msg); i++) {
		uart_poll_out(gps_dev, pulse_msg[i]);
	}

	const char mode_msg[] = "$PMTK886,3*2B\r\n"; // balloon mode
	for (int i = 0; i < strlen(mode_msg); i++) {
		uart_poll_out(gps_dev, mode_msg[i]);
	}
}
#endif

// Function to calculate the Haversine distance between two points
float haversine_distance(float lat1, float lon1, float lat2, float lon2) {
    // Convert latitude and longitude from degrees to radians
    lat1 = 3.1415 / 180.0 * lat1;
    lon1 = 3.1415 / 180.0 * lon1;
    lat2 = 3.1415 / 180.0 * lat2;
    lon2 = 3.1415 / 180.0 * lon2;

    // Calculate the differences in latitude and longitude
    float dlat = lat2 - lat1;
    float dlon = lon2 - lon1;

    // Calculate the Haversine distance
    float a = sin(dlat/2) * sin(dlat/2) + cos(lat1) * cos(lat2) * sin(dlon/2) * sin(dlon/2);
    float c = 2 * atan2(sqrt(a), sqrt(1-a));
    float distance = 6371000.0 * c;

    return distance;
}
```

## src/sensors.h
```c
#pragma once

#include "tracker.h"

float haversine_distance(float lat1, float lon1, float lat2, float lon2);
void init_sensors(tracker_t *tracker);
```

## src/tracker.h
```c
#pragma once

#include "protocol.h"

#define DT_ALIAS_EXISTS(alias) DT_NODE_EXISTS(DT_ALIAS(alias))

enum screen_frames {
    FRAME_INFO,
    FRAME_TELEMETRY,
    FRAME_TRACKING,
    FRAME_GET_READY,
    FRAME_ENTER_IDLE,
    FRAME_ENTER_SUDO,
    FRAME_PYRO1,
    FRAME_PYRO2,
    FRAME_PYRO3,
    FRAME_CLEAR_FLASH,
    FRAME_MAX
};

typedef struct {
    volatile enum screen_frames current_frame;
    volatile struct telemetry_packet telemetry;
    volatile int32_t local_rssi;
    volatile float latitude;
    volatile float longitude;
} tracker_t;

extern tracker_t tracker_god;
```
